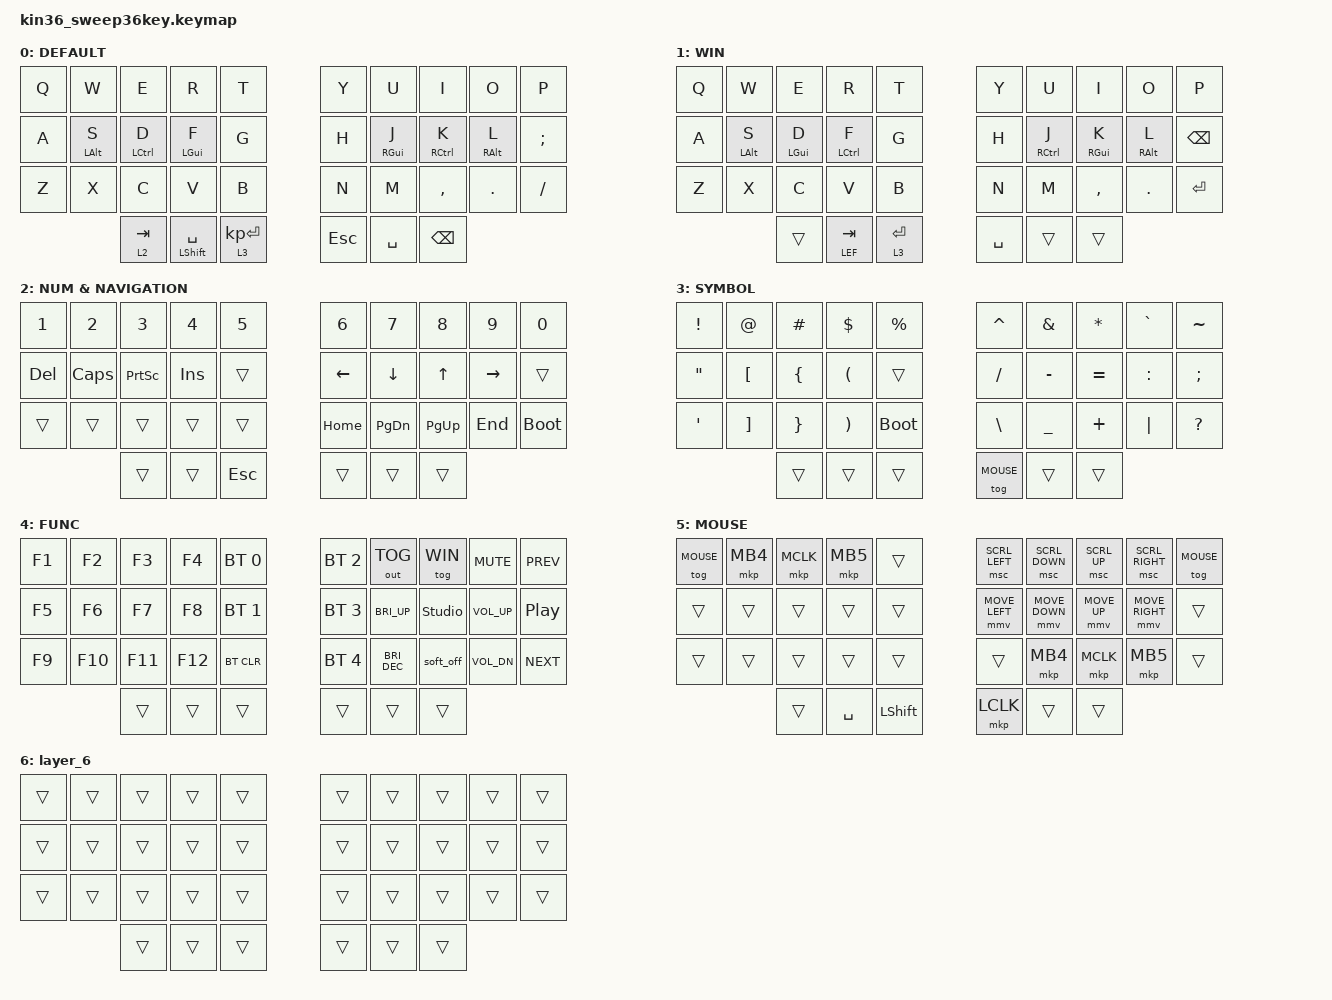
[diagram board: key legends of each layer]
// Copyright (c) 2022 The ZMK Contributors
// SPDX-License-Identifier: MIT

#define ZMK_POINTING_DEFAULT_MOVE_VAL 2500  // 600
#define ZMK_POINTING_DEFAULT_SCRL_VAL 20    // 10

#include <behaviors.dtsi>
#include <dt-bindings/zmk/bt.h>
#include <dt-bindings/zmk/keys.h>
#include <dt-bindings/zmk/outputs.h>
#include <dt-bindings/zmk/pointing.h>

#define MAC 0
#define WIN 1
#define RIG 2
#define LEF 3
#define TRI 4
#define MOUSE 5

#include "combos.dtsi"

// https://zmk.dev/docs/development/hardware-integration/soft-off-setup?advanced-methods=wakeup&kscan-type=dkscan

/ {
    keys {
        compatible = "gpio-keys";

        soft_off_gpio_key: soft_off_gpio_key { gpios = <&gpio1 6 (GPIO_ACTIVE_LOW | GPIO_PULL_UP)>; };
    };

    wakeup_scan: wakeup_scan {
        compatible = "zmk,kscan-gpio-direct";
        input-keys = <&soft_off_gpio_key>;
        wakeup-source;
    };

    side_band_behavior_triggers: side_band_behavior_triggers {
        compatible = "zmk,kscan-sideband-behaviors";
        kscan = <&wakeup_scan>;
        auto-enable;
        wakeup-source;
    };

    soft_off_wakers {
        compatible = "zmk,soft-off-wakeup-sources";
        wakeup-sources = <&wakeup_scan>;
    };
};

/ {
    // chosen { zmk,charmap = &charmap_us; };

    behaviors {
        ht: hold_tap {
            label = "hold_tap";
            compatible = "zmk,behavior-hold-tap";
            #binding-cells = <2>;
            flavor = "tap-preferred";
            tapping-term-ms = <220>;
            quick-tap-ms = <150>;
            global-quick-tap;
            bindings = <&kp>, <&kp>;
        };

        mmv {
            acceleration-exponent = <1>;      // 1
            time-to-max-speed-ms = <300>;    // 40
            delay-ms = <0>;                   // 0
        };

        msc {
            acceleration-exponent = <0>;      // 0
            time-to-max-speed-ms = <40>;      // 500
            delay-ms = <0>;                   // 10
        };
    };

    conditional_layers {
        compatible = "zmk,conditional-layers";

        tri_layer {
            if-layers = <RIG LEF>;
            then-layer = <TRI>;
        };
    };

    keymap {
        compatible = "zmk,keymap";

        default_layer {
            display-name = "DEFAULT";
            bindings = <
  &kp Q  &kp W       &kp E        &kp R                 &kp T             &kp Y    &kp U       &kp I        &kp O       &kp P
  &kp A  &ht LALT S  &ht LCTRL D  &ht LGUI F            &kp G             &kp H    &ht RGUI J  &ht RCTRL K  &ht RALT L  &kp SEMICOLON
  &kp Z  &kp X       &kp C        &kp V                 &kp B             &kp N    &kp M       &kp COMMA    &kp DOT     &kp FSLH
                     &lt 2 TAB    &ht LEFT_SHIFT SPACE  &lt 3 KP_ENTER    &kp ESC  &kp SPACE   &kp BSPC
            >;
        };

        windows_layer {
            display-name = "WIN";
            bindings = <
  &kp Q  &kp W       &kp E       &kp R        &kp T          &kp Y      &kp U        &kp I       &kp O       &kp P
  &kp A  &ht LALT S  &ht LGUI D  &ht LCTRL F  &kp G          &kp H      &ht RCTRL J  &ht RGUI K  &ht RALT L  &kp BSPC
  &kp Z  &kp X       &kp C       &kp V        &kp B          &kp N      &kp M        &kp COMMA   &kp DOT     &kp ENTER
                     &trans      &lt LEF TAB  &lt 3 ENTER    &kp SPACE  &trans       &trans
            >;
        };

        right_layer {
            display-name = "NUM & NAVIGATION";
            bindings = <
  &kp N1   &kp N2    &kp N3     &kp N4   &kp N5     &kp N6    &kp N7     &kp N8     &kp N9     &kp N0
  &kp DEL  &kp CAPS  &kp PSCRN  &kp INS  &trans     &kp LEFT  &kp DOWN   &kp UP     &kp RIGHT  &trans
  &trans   &trans    &trans     &trans   &trans     &kp HOME  &kp PG_DN  &kp PG_UP  &kp END    &bootloader
                     &trans     &trans   &kp ESC    &trans    &trans     &trans
            >;
        };

        left_layer {
            display-name = "SYMBOL";
            bindings = <
  &kp EXCL  &kp AT    &kp HASH  &kp DLLR  &kp PRCNT      &kp CARET   &kp AMPS   &kp ASTRK  &kp GRAVE  &kp TILDE
  &kp DQT   &kp LBKT  &kp LBRC  &kp LPAR  &trans         &kp FSLH    &kp MINUS  &kp EQUAL  &kp COLON  &kp SEMI
  &kp SQT   &kp RBKT  &kp RBRC  &kp RPAR  &bootloader    &kp BSLH    &kp UNDER  &kp PLUS   &kp PIPE   &kp QMARK
                      &trans    &trans    &trans         &tog MOUSE  &trans     &trans
            >;
        };

        tri_layer {
            display-name = "FUNC";
            bindings = <
  &kp F1  &kp F2   &kp F3   &kp F4   &bt BT_SEL 0    &bt BT_SEL 2  &out OUT_TOG   &tog WIN        &kp C_MUTE    &kp C_PREV
  &kp F5  &kp F6   &kp F7   &kp F8   &bt BT_SEL 1    &bt BT_SEL 3  &kp C_BRI_UP   &studio_unlock  &kp C_VOL_UP  &kp C_PP
  &kp F9  &kp F10  &kp F11  &kp F12  &bt BT_CLR      &bt BT_SEL 4  &kp C_BRI_DEC  &soft_off       &kp C_VOL_DN  &kp C_NEXT
                   &trans   &trans   &trans          &trans        &trans         &trans
            >;
        };

        mouse {
            display-name = "MOUSE";
            bindings = <
  &tog MOUSE  &mkp MB4  &mkp MCLK  &mkp MB5   &trans        &msc SCRL_LEFT  &msc SCRL_DOWN  &msc SCRL_UP  &msc SCRL_RIGHT  &tog MOUSE
  &trans      &trans    &trans     &trans     &trans        &mmv MOVE_LEFT  &mmv MOVE_DOWN  &mmv MOVE_UP  &mmv MOVE_RIGHT  &trans
  &trans      &trans    &trans     &trans     &trans        &trans          &mkp MB4        &mkp MCLK     &mkp MB5         &trans
                        &trans     &kp SPACE  &kp LSHIFT    &mkp LCLK       &trans          &trans
            >;
        };

        layer_6 {
            bindings = <
  &trans  &trans  &trans  &trans  &trans    &trans  &trans  &trans  &trans  &trans
  &trans  &trans  &trans  &trans  &trans    &trans  &trans  &trans  &trans  &trans
  &trans  &trans  &trans  &trans  &trans    &trans  &trans  &trans  &trans  &trans
                  &trans  &trans  &trans    &trans  &trans  &trans
            >;
        };
    };
};
